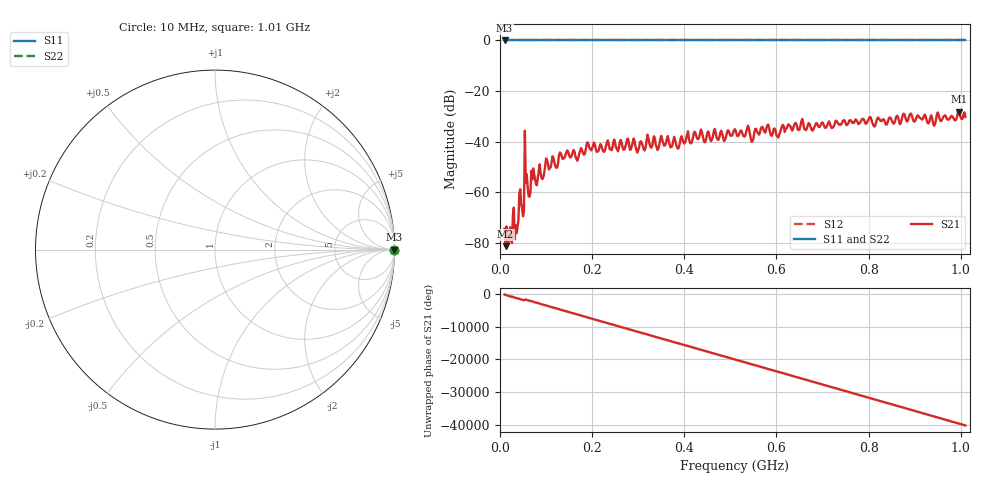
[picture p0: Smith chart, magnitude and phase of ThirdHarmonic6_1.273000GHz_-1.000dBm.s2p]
! 8/16/2025 1:47:34 PM
! C:\ANRITSUVNA\TEMP\TEMP.S2P
! CHANNEL.1
! TR.MEASUREMENT
! RAW.DATA
! RF.CORRECTION.OFF
! AVERAGING.OFF
! IF.BANDWIDTH: 5KHZ
! SWEEPTYPE:  FREQ.SWEEP(Linear)
! Reference Plane Port Info
! PORT:  PORT1  PORT2
! DISTANCE:  0  m  0  m
! TIME:  0  s  0  s
! PHASE.OFFSET:  0  deg.  0  deg.
! LOSS:  0  dB  0  dB
! REF.LOSS:  0  dB  0  dB
! REF.FREQ:  0  Hz  0  Hz
! Power Info
! POWER:  -20  dBm  -20  dBm
! EFF.POWER:  -20  dBm  -20  dBm
! SOURCE.ATTEN:  0  dB  0  dB
! TEST.ATTEN:  0  dB  0  dB
# GHZ S RI R 50.0
! FREQ.GHZ  S11RE  S11IM  S21RE  S21IM  S12RE  S12IM  S22RE  S22IM
!; PortSelection: Port_12
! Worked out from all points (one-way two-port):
!   501 points, 10 MHz to 1.01 GHz, reference 50 ohm
!   highest |S21| = -28.13 dB at 996 MHz (marker M1); lowest = -81.2 dB at 12 MHz (marker M2)
!   lowest |S11| = 0.0 dB at 10 MHz (marker M3)
!   |S11| at or under -10 dB: nowhere
!   |S22| runs from 0.0 to 0.0 dB; largest |S21 - S12| = 1
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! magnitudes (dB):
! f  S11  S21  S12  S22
! 10 MHz  0.0  -74.3  0.0  0.0
! 12 MHz  0.0  -81.2  0.0  0.0
! 36 MHz  0.0  -76.0  0.0  0.0
! 42 MHz  0.0  -60.3  0.0  0.0
! 48 MHz  0.0  -66.6  0.0  0.0
! 58 MHz  0.0  -52.9  0.0  0.0
! 62 MHz  0.0  -61.4  0.0  0.0
! 72 MHz  0.0  -50.5  0.0  0.0
! 92 MHz  0.0  -54.7  0.0  0.0
! 102 MHz  0.0  -47.2  0.0  0.0
! 178 MHz  0.0  -43.3  0.0  0.0
! 344 MHz  0.0  -42.5  0.0  0.0
! 510 MHz  0.0  -35.1  0.0  0.0
! 538 MHz  0.0  -33.6  0.0  0.0
! 546 MHz  0.0  -40.0  0.0  0.0
! 580 MHz  0.0  -33.6  0.0  0.0
! 604 MHz  0.0  -38.3  0.0  0.0
! 626 MHz  0.0  -33.1  0.0  0.0
! 678 MHz  0.0  -35.6  0.0  0.0
! 844 MHz  0.0  -30.7  0.0  0.0
! 996 MHz  0.0  -28.1  0.0  0.0
! 1.01 GHz  0.0  -30.2  0.0  0.0
